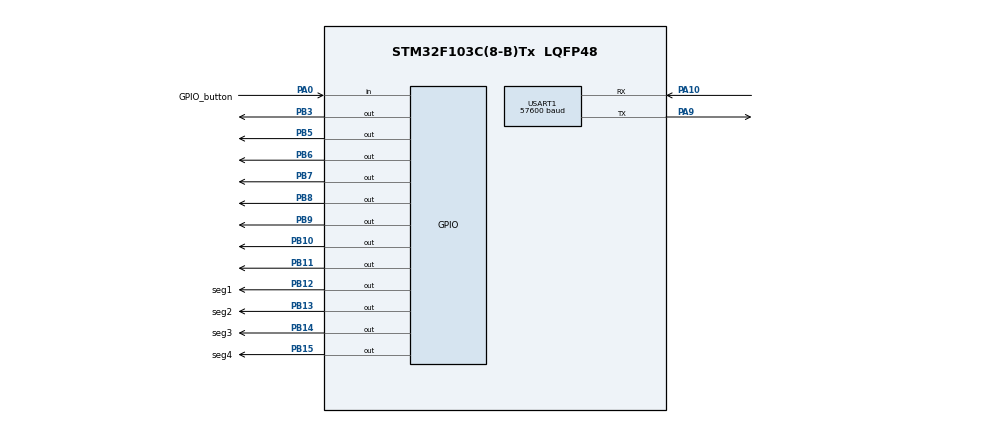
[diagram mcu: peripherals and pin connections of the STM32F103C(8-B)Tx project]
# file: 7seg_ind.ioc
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Mcu.Family=STM32F1
Mcu.Name=STM32F103C(8-B)Tx
Mcu.Package=LQFP48
NVIC.PriorityGroup=NVIC_PRIORITYGROUP_4
PA0-WKUP.GPIO_Label=GPIO_button
PA0-WKUP.Signal=GPIO_Input
PA10.Mode=Asynchronous
PA10.Signal=USART1_RX
PA9.Mode=Asynchronous
PA9.Signal=USART1_TX
PB10.Signal=GPIO_Output
PB11.Signal=GPIO_Output
PB12.GPIO_Label=seg1
PB12.Signal=GPIO_Output
PB13.GPIO_Label=seg2
PB13.Signal=GPIO_Output
PB14.GPIO_Label=seg3
PB14.Signal=GPIO_Output
PB15.GPIO_Label=seg4
PB15.Signal=GPIO_Output
PB3.Signal=GPIO_Output
PB5.Signal=GPIO_Output
PB6.Signal=GPIO_Output
PB7.Signal=GPIO_Output
PB8.Signal=GPIO_Output
PB9.Signal=GPIO_Output
ProjectManager.HeapSize=0x200
ProjectManager.StackSize=0x400
ProjectManager.TargetToolchain=STM32CubeIDE
RCC.APB1Freq_Value=8000000
RCC.APB2Freq_Value=8000000
USART1.BaudRate=57600
USART1.VirtualMode=VM_ASYNC
VP_SYS_VS_ND.Mode=No_Debug
board=custom

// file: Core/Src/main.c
/* USER CODE BEGIN Header */
/**
  ******************************************************************************
  * @file           : main.c
  * @brief          : Main program body
  ******************************************************************************
  * @attention
  *
  * <h2><center>&copy; Copyright (c) 2021 STMicroelectronics.
  * All rights reserved.</center></h2>
  *
  * This software component is licensed by ST under BSD 3-Clause license,
  * the "License"; You may not use this file except in compliance with the
  * License. You may obtain a copy of the License at:
  *                        opensource.org/licenses/BSD-3-Clause
  *
  ******************************************************************************
  */
/* USER CODE END Header */

#include "main.h"

/* USER CODE BEGIN Includes */
#include "stdio.h"
#include "string.h"
/* USER CODE END Includes */

/* USER CODE BEGIN PD */
#define msg_SIZE 60
#define DELAY 1000 //период импульсов ШИМ
/* USER CODE END PD */

UART_HandleTypeDef huart1;

/* USER CODE BEGIN PV */
uint8_t ptr_buffer = 0; // буффер для цифры
uint8_t flag = 1; //флаг нажатия кнопки
/* USER CODE END PV */

void SystemClock_Config(void);
static void MX_GPIO_Init(void);
static void MX_USART1_UART_Init(void);
/* USER CODE BEGIN PFP */
void clear_segment ();
void set_1_digital (); //активация первой цифры
void set_2_digital ();
void set_3_digital ();
void set_4_digital ();
void print_0 ();
void print_1 (); //напечатать 1
void print_2 ();
void print_3 ();
void print_4 ();
void print_5 ();
void print_6 ();
void print_7 ();
void print_8 ();
void print_9 ();
void switch_digital (uint8_t);
/* USER CODE END PFP */

/* USER CODE BEGIN 0 */
static char UART_msg_TX[msg_SIZE]; // массив для формирования сообщений для вывода по UART
static char UART_msg_RX[msg_SIZE]; // массив для сообщений полученных по UART
/* USER CODE END 0 */

int main(void)
{

  /* MCU Configuration--------------------------------------------------------*/

  /* Reset of all peripherals, Initializes the Flash interface and the Systick. */
  HAL_Init();

  /* Configure the system clock */
  SystemClock_Config();

  /* Initialize all configured peripherals */
  MX_GPIO_Init();
  MX_USART1_UART_Init();
  /* USER CODE BEGIN 2 */

  sprintf (UART_msg_TX,"7seg_start\r\n");
  HAL_UART_Transmit (&huart1, (char*)UART_msg_TX, strlen(UART_msg_TX), 0x1000);
  set_1_digital ();

  /* USER CODE END 2 */

  /* Infinite loop */
  while (1)
  {

    /* USER CODE BEGIN 3 */
		{
		for (uint8_t count = 0; count < 10; count++)
			{
			switch_digital (count);
			HAL_Delay (30);
			if (HAL_GPIO_ReadPin(GPIO_button_GPIO_Port, GPIO_button_Pin)==GPIO_PIN_RESET) //если кнопка не нажата, продолжаем счёт
				{
				clear_segment ();
				continue;
				}
			else //если нажата, фиксируем значение и ждём 0,5 с
				{
				HAL_Delay (1000);
				clear_segment ();
				break;
				}
			}
		}
  }
  /* USER CODE END 3 */
}

void SystemClock_Config(void)
{
  RCC_OscInitTypeDef RCC_OscInitStruct = {0};
  RCC_ClkInitTypeDef RCC_ClkInitStruct = {0};

  /** Initializes the CPU, AHB and APB busses clocks
  */
  RCC_OscInitStruct.OscillatorType = RCC_OSCILLATORTYPE_HSI;
  RCC_OscInitStruct.HSIState = RCC_HSI_ON;
  RCC_OscInitStruct.HSICalibrationValue = RCC_HSICALIBRATION_DEFAULT;
  RCC_OscInitStruct.PLL.PLLState = RCC_PLL_NONE;
  if (HAL_RCC_OscConfig(&RCC_OscInitStruct) != HAL_OK)
  {
    Error_Handler();
  }
  /** Initializes the CPU, AHB and APB busses clocks
  */
  RCC_ClkInitStruct.ClockType = RCC_CLOCKTYPE_HCLK|RCC_CLOCKTYPE_SYSCLK
                              |RCC_CLOCKTYPE_PCLK1|RCC_CLOCKTYPE_PCLK2;
  RCC_ClkInitStruct.SYSCLKSource = RCC_SYSCLKSOURCE_HSI;
  RCC_ClkInitStruct.AHBCLKDivider = RCC_SYSCLK_DIV1;
  RCC_ClkInitStruct.APB1CLKDivider = RCC_HCLK_DIV1;
  RCC_ClkInitStruct.APB2CLKDivider = RCC_HCLK_DIV1;

  if (HAL_RCC_ClockConfig(&RCC_ClkInitStruct, FLASH_LATENCY_0) != HAL_OK)
  {
    Error_Handler();
  }
}

static void MX_USART1_UART_Init(void)
{

  huart1.Instance = USART1;
  huart1.Init.BaudRate = 57600;
  huart1.Init.WordLength = UART_WORDLENGTH_8B;
  huart1.Init.StopBits = UART_STOPBITS_1;
  huart1.Init.Parity = UART_PARITY_NONE;
  huart1.Init.Mode = UART_MODE_TX_RX;
  huart1.Init.HwFlowCtl = UART_HWCONTROL_NONE;
  huart1.Init.OverSampling = UART_OVERSAMPLING_16;
  if (HAL_UART_Init(&huart1) != HAL_OK)
  {
    Error_Handler();
  }

}

static void MX_GPIO_Init(void)
{
  GPIO_InitTypeDef GPIO_InitStruct = {0};

  /* GPIO Ports Clock Enable */
  __HAL_RCC_GPIOA_CLK_ENABLE();
  __HAL_RCC_GPIOB_CLK_ENABLE();

  /*Configure GPIO pin Output Level */
  HAL_GPIO_WritePin(GPIOB, GPIO_PIN_10|GPIO_PIN_11|seg1_Pin|seg2_Pin
                          |seg3_Pin|seg4_Pin|GPIO_PIN_3|GPIO_PIN_5
                          |GPIO_PIN_6|GPIO_PIN_7|GPIO_PIN_8|GPIO_PIN_9, GPIO_PIN_RESET);

  /*Configure GPIO pin : GPIO_button_Pin */
  GPIO_InitStruct.Pin = GPIO_button_Pin;
  GPIO_InitStruct.Mode = GPIO_MODE_INPUT;
  GPIO_InitStruct.Pull = GPIO_NOPULL;
  HAL_GPIO_Init(GPIO_button_GPIO_Port, &GPIO_InitStruct);

  /*Configure GPIO pins : PB10 PB11 seg1_Pin seg2_Pin
                           seg3_Pin seg4_Pin PB3 PB5
                           PB6 PB7 PB8 PB9 */
  GPIO_InitStruct.Pin = GPIO_PIN_10|GPIO_PIN_11|seg1_Pin|seg2_Pin
                          |seg3_Pin|seg4_Pin|GPIO_PIN_3|GPIO_PIN_5
                          |GPIO_PIN_6|GPIO_PIN_7|GPIO_PIN_8|GPIO_PIN_9;
  GPIO_InitStruct.Mode = GPIO_MODE_OUTPUT_PP;
  GPIO_InitStruct.Pull = GPIO_NOPULL;
  GPIO_InitStruct.Speed = GPIO_SPEED_FREQ_LOW;
  HAL_GPIO_Init(GPIOB, &GPIO_InitStruct);

}

/* USER CODE BEGIN 4 */
/*void HAL_UART_RxCpltCallback(UART_HandleTypeDef *huart)
{
  if(huart == &huart1)
  {
      HAL_UART_Receive_IT (&huart1, UART_msg_RX, 1);

 /*     ptr_buffer++;
      if ((UART_msg_RX [ptr_buffer-2] == 0x0D) && (UART_msg_RX [ptr_buffer-1] == 0x0A)) // 0x0D и 0xOA - окончание данных
      	{
    	  	for(uint8_t count = 0; count <= ptr_buffer; count++)
    	  		{
    	  		if ((UART_msg_RX [ptr_buffer + count] == '\r') || (UART_msg_RX [ptr_buffer + count] == '\n'))
    	  			UART_msg_RX [ptr_buffer + count]  = '\0'; //убираем из буфера символы \r и \n
    	  		}
      		ptr_buffer = 0;
      		if(!strcmp (UART_msg_RX, "0"))
      		{
      			flag = 0;
      		}

      		if(!strcmp (UART_msg_RX, "1"))
      		{
      			flag = 1;
      		}
      	}
    }
}*/

void set_1_digital ()
{
	HAL_GPIO_WritePin(seg1_GPIO_Port, seg1_Pin, GPIO_PIN_RESET); //активируем первую цифру
	HAL_GPIO_WritePin(seg2_GPIO_Port, seg2_Pin, GPIO_PIN_SET);
	HAL_GPIO_WritePin(seg3_GPIO_Port, seg3_Pin, GPIO_PIN_SET);
	HAL_GPIO_WritePin(seg4_GPIO_Port, seg4_Pin, GPIO_PIN_SET);
}

void set_2_digital ()
{
	HAL_GPIO_WritePin(seg1_GPIO_Port, seg1_Pin, GPIO_PIN_SET); //активируем вторую цифру
	HAL_GPIO_WritePin(seg2_GPIO_Port, seg2_Pin, GPIO_PIN_RESET);
	HAL_GPIO_WritePin(seg3_GPIO_Port, seg3_Pin, GPIO_PIN_SET);
	HAL_GPIO_WritePin(seg4_GPIO_Port, seg4_Pin, GPIO_PIN_SET);
}

void set_3_digital ()
{
	HAL_GPIO_WritePin(seg1_GPIO_Port, seg1_Pin, GPIO_PIN_SET); //активируем третью цифру
	HAL_GPIO_WritePin(seg2_GPIO_Port, seg2_Pin, GPIO_PIN_SET);
	HAL_GPIO_WritePin(seg3_GPIO_Port, seg3_Pin, GPIO_PIN_RESET);
	HAL_GPIO_WritePin(seg4_GPIO_Port, seg4_Pin, GPIO_PIN_SET);
}

void set_4_digital ()
{
	HAL_GPIO_WritePin(seg1_GPIO_Port, seg1_Pin, GPIO_PIN_SET); //активируем четвёртую цифру
	HAL_GPIO_WritePin(seg2_GPIO_Port, seg2_Pin, GPIO_PIN_SET);
	HAL_GPIO_WritePin(seg3_GPIO_Port, seg3_Pin, GPIO_PIN_SET);
	HAL_GPIO_WritePin(seg4_GPIO_Port, seg4_Pin, GPIO_PIN_RESET);
}

void clear_segment ()
{
	 HAL_GPIO_WritePin(GPIOB, GPIO_PIN_3, GPIO_PIN_SET);
	 HAL_GPIO_WritePin(GPIOB, GPIO_PIN_5, GPIO_PIN_SET);
	 HAL_GPIO_WritePin(GPIOB, GPIO_PIN_6, GPIO_PIN_SET);
	 HAL_GPIO_WritePin(GPIOB, GPIO_PIN_7, GPIO_PIN_SET);
	 HAL_GPIO_WritePin(GPIOB, GPIO_PIN_8, GPIO_PIN_SET);
	 HAL_GPIO_WritePin(GPIOB, GPIO_PIN_9, GPIO_PIN_SET);
	 HAL_GPIO_WritePin(GPIOB, GPIO_PIN_10, GPIO_PIN_SET);
	 HAL_GPIO_WritePin(GPIOB, GPIO_PIN_11, GPIO_PIN_SET);
}

void print_0 ()
{
	HAL_GPIO_WritePin(GPIOB, GPIO_PIN_3, GPIO_PIN_RESET); //0
	HAL_GPIO_WritePin(GPIOB, GPIO_PIN_6, GPIO_PIN_RESET);
	HAL_GPIO_WritePin(GPIOB, GPIO_PIN_7, GPIO_PIN_RESET);
	HAL_GPIO_WritePin(GPIOB, GPIO_PIN_8, GPIO_PIN_RESET);
	HAL_GPIO_WritePin(GPIOB, GPIO_PIN_9, GPIO_PIN_RESET);
	HAL_GPIO_WritePin(GPIOB, GPIO_PIN_10, GPIO_PIN_RESET);
}

void print_1 ()
{
	HAL_GPIO_WritePin(GPIOB, GPIO_PIN_3, GPIO_PIN_RESET); //1
	HAL_GPIO_WritePin(GPIOB, GPIO_PIN_9, GPIO_PIN_RESET);
//	HAL_GPIO_WritePin(GPIOB, GPIO_PIN_3, GPIO_PIN_RESET);
}

void print_2 ()
{
	HAL_GPIO_WritePin(GPIOB, GPIO_PIN_7, GPIO_PIN_RESET); //2
	HAL_GPIO_WritePin(GPIOB, GPIO_PIN_9, GPIO_PIN_RESET);
	HAL_GPIO_WritePin(GPIOB, GPIO_PIN_11, GPIO_PIN_RESET);
	HAL_GPIO_WritePin(GPIOB, GPIO_PIN_10, GPIO_PIN_RESET);
	HAL_GPIO_WritePin(GPIOB, GPIO_PIN_6, GPIO_PIN_RESET);
//	HAL_GPIO_WritePin(GPIOB, GPIO_PIN_5, GPIO_PIN_RESET);
}

void print_3 ()
{
	HAL_GPIO_WritePin(GPIOB, GPIO_PIN_7, GPIO_PIN_RESET); //3
	HAL_GPIO_WritePin(GPIOB, GPIO_PIN_9, GPIO_PIN_RESET);
	HAL_GPIO_WritePin(GPIOB, GPIO_PIN_11, GPIO_PIN_RESET);
	HAL_GPIO_WritePin(GPIOB, GPIO_PIN_3, GPIO_PIN_RESET);
	HAL_GPIO_WritePin(GPIOB, GPIO_PIN_6, GPIO_PIN_RESET);
//	HAL_GPIO_WritePin(GPIOB, GPIO_PIN_6, GPIO_PIN_RESET);
}

void print_4 ()
{
	HAL_GPIO_WritePin(GPIOB, GPIO_PIN_9, GPIO_PIN_RESET); //4
	HAL_GPIO_WritePin(GPIOB, GPIO_PIN_11, GPIO_PIN_RESET);
	HAL_GPIO_WritePin(GPIOB, GPIO_PIN_8, GPIO_PIN_RESET);
	HAL_GPIO_WritePin(GPIOB, GPIO_PIN_3, GPIO_PIN_RESET);
//	HAL_GPIO_WritePin(GPIOB, GPIO_PIN_7, GPIO_PIN_RESET);
}

void print_5 ()
{
	HAL_GPIO_WritePin(GPIOB, GPIO_PIN_7, GPIO_PIN_RESET); //5
	HAL_GPIO_WritePin(GPIOB, GPIO_PIN_8, GPIO_PIN_RESET);
	HAL_GPIO_WritePin(GPIOB, GPIO_PIN_11, GPIO_PIN_RESET);
	HAL_GPIO_WritePin(GPIOB, GPIO_PIN_3, GPIO_PIN_RESET);
	HAL_GPIO_WritePin(GPIOB, GPIO_PIN_6, GPIO_PIN_RESET);
//	HAL_GPIO_WritePin(GPIOB, GPIO_PIN_8, GPIO_PIN_RESET);
}

void print_6 ()
{
	HAL_GPIO_WritePin(GPIOB, GPIO_PIN_7, GPIO_PIN_RESET); //6
	HAL_GPIO_WritePin(GPIOB, GPIO_PIN_8, GPIO_PIN_RESET);
	HAL_GPIO_WritePin(GPIOB, GPIO_PIN_10, GPIO_PIN_RESET);
	HAL_GPIO_WritePin(GPIOB, GPIO_PIN_3, GPIO_PIN_RESET);
	HAL_GPIO_WritePin(GPIOB, GPIO_PIN_6, GPIO_PIN_RESET);
	HAL_GPIO_WritePin(GPIOB, GPIO_PIN_11, GPIO_PIN_RESET);
//	HAL_GPIO_WritePin(GPIOB, GPIO_PIN_9, GPIO_PIN_RESET);
}

void print_7 ()
{
	HAL_GPIO_WritePin(GPIOB, GPIO_PIN_7, GPIO_PIN_RESET); //7
	HAL_GPIO_WritePin(GPIOB, GPIO_PIN_9, GPIO_PIN_RESET);
	HAL_GPIO_WritePin(GPIOB, GPIO_PIN_3, GPIO_PIN_RESET);
//	HAL_GPIO_WritePin(GPIOB, GPIO_PIN_10, GPIO_PIN_RESET);
}

void print_8 ()
{
	HAL_GPIO_WritePin(GPIOB, GPIO_PIN_3, GPIO_PIN_RESET); //8
	HAL_GPIO_WritePin(GPIOB, GPIO_PIN_6, GPIO_PIN_RESET);
	HAL_GPIO_WritePin(GPIOB, GPIO_PIN_7, GPIO_PIN_RESET);
	HAL_GPIO_WritePin(GPIOB, GPIO_PIN_8, GPIO_PIN_RESET);
	HAL_GPIO_WritePin(GPIOB, GPIO_PIN_9, GPIO_PIN_RESET);
	HAL_GPIO_WritePin(GPIOB, GPIO_PIN_10, GPIO_PIN_RESET);
	HAL_GPIO_WritePin(GPIOB, GPIO_PIN_11, GPIO_PIN_RESET);
//	HAL_GPIO_WritePin(GPIOB, GPIO_PIN_11, GPIO_PIN_RESET);
}

void print_9 ()
{
	HAL_GPIO_WritePin(GPIOB, GPIO_PIN_7, GPIO_PIN_RESET); //9
	HAL_GPIO_WritePin(GPIOB, GPIO_PIN_9, GPIO_PIN_RESET);
	HAL_GPIO_WritePin(GPIOB, GPIO_PIN_11, GPIO_PIN_RESET);
	HAL_GPIO_WritePin(GPIOB, GPIO_PIN_8, GPIO_PIN_RESET);
	HAL_GPIO_WritePin(GPIOB, GPIO_PIN_3, GPIO_PIN_RESET);
	HAL_GPIO_WritePin(GPIOB, GPIO_PIN_6, GPIO_PIN_RESET);
}

void switch_digital (uint8_t digital)
	{
	switch ( digital )
		{
		case 0:
		print_0 ();
		break;

		case 1:
		print_1 ();
		break;

		case 2:
		print_2 ();
		break;

		case 3:
		print_3();
		break;

		case 4:
		print_4 ();
		break;

		case 5:
		print_5 ();
		break;

		case 6:
		print_6 ();
		break;

		case 7:
		print_7 ();
		break;

		case 8:
		print_8 ();
		break;

		case 9:
		print_9 ();
		break;

		default:
		break;
		}
	}
/* USER CODE END 4 */

void Error_Handler(void)
{
}

/************************ (C) COPYRIGHT STMicroelectronics *****END OF FILE****/
